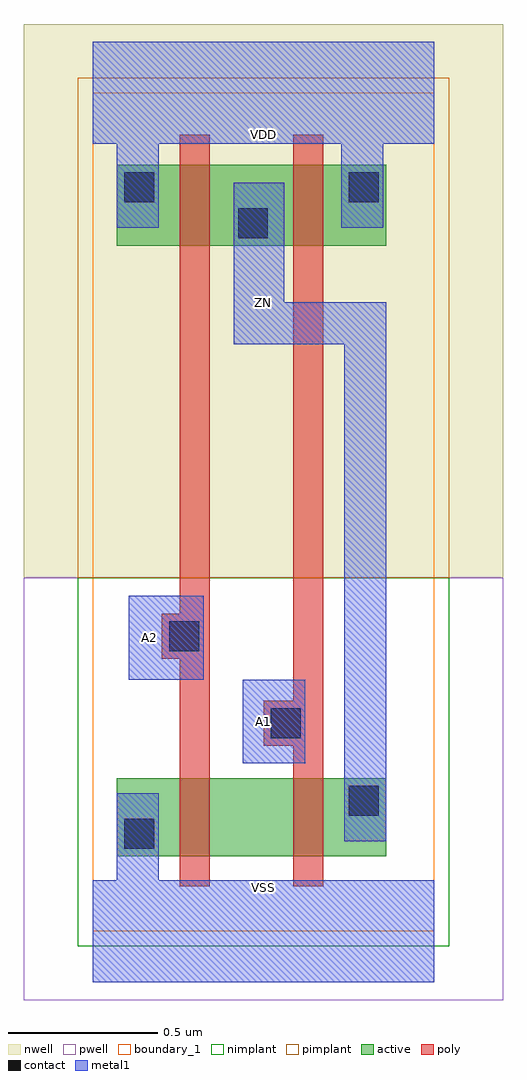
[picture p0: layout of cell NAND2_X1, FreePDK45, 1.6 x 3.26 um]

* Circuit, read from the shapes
.subckt NAND2_X1 A1 A2 VDD VSS ZN
M1 n1 A2 VSS VSUBS nfet w=0.26u l=0.1u
M2 ZN A1 n1 VSUBS nfet w=0.26u l=0.1u
M3 ZN A2 VDD n2 pfet w=0.27u l=0.1u
M4 VDD A1 ZN n2 pfet w=0.27u l=0.1u
.ends

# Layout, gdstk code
import gdstk
lib = gdstk.Library(unit=1e-6, precision=1e-09)
def R(c, l, rs):  # rectangles x0, y0, x1, y1
    for r in rs: c.add(gdstk.rectangle(r[:2], r[2:], *l))
def P(c, l, *ps):  # polygons
    for p in ps: c.add(gdstk.Polygon(p, *l))
active = (1, 0)
pwell = (2, 0)
nwell = (3, 0)
nimplant = (4, 0)
pimplant = (5, 0)
poly = (9, 0)
contact = (10, 0)
metal1 = (11, 0)
boundary_1 = (235, 1)

nand2_x1 = lib.new_cell('NAND2_X1')
R(nand2_x1, active, [(0.08,0.25,0.98,0.51), (0.08,2.29,0.98,2.56)])
R(nand2_x1, pwell, [(-0.23,-0.23,1.37,1.18)])
R(nand2_x1, nwell, [(-0.23,1.18,1.37,3.03)])
R(nand2_x1, nimplant, [(-0.05,-0.05,1.19,1.18)])
R(nand2_x1, pimplant, [(-0.05,1.18,1.19,2.85)])
P(nand2_x1, poly, [(0.57,0.62),(0.67,0.62),(0.67,0.15),(0.77,0.15),(0.77,2.66),(0.67,2.66),(0.67,0.77),(0.57,0.77)],
  [(0.23,0.91),(0.29,0.91),(0.29,0.15),(0.39,0.15),(0.39,2.66),(0.29,2.66),(0.29,1.06),(0.23,1.06)])
R(nand2_x1, contact, [(0.105,0.275,0.205,0.375), (0.855,0.385,0.955,0.485), (0.595,0.645,0.695,0.745), (0.255,0.935,0.355,1.035), (0.485,2.315,0.585,2.415), (0.105,2.435,0.205,2.535), (0.855,2.435,0.955,2.535)])
R(nand2_x1, metal1, [(0.5,0.56,0.71,0.84), (0.5,0.56,0.71,0.84), (0.12,0.84,0.37,1.12), (0.12,0.84,0.37,1.12)])
P(nand2_x1, metal1, [(0.47,1.96),(0.84,1.96),(0.84,0.3),(0.98,0.3),(0.98,2.1),(0.64,2.1),(0.64,2.5),(0.47,2.5)],
  [(0,-0.17),(1.14,-0.17),(1.14,0.17),(0.22,0.17),(0.22,0.46),(0.08,0.46),(0.08,0.17),(0,0.17)],
  [(0,2.63),(0.08,2.63),(0.08,2.35),(0.22,2.35),(0.22,2.63),(0.83,2.63),(0.83,2.35),(0.97,2.35),(0.97,2.63),(1.14,2.63),(1.14,2.97),(0,2.97)],
  [(0,2.63),(0.08,2.63),(0.08,2.35),(0.22,2.35),(0.22,2.63),(0.83,2.63),(0.83,2.35),(0.97,2.35),(0.97,2.63),(1.14,2.63),(1.14,2.97),(0,2.97)],
  [(0,-0.17),(1.14,-0.17),(1.14,0.17),(0.22,0.17),(0.22,0.46),(0.08,0.46),(0.08,0.17),(0,0.17)],
  [(0.47,1.96),(0.84,1.96),(0.84,0.3),(0.98,0.3),(0.98,2.1),(0.64,2.1),(0.64,2.5),(0.47,2.5)])
R(nand2_x1, boundary_1, [(0,0,1.14,2.8)])
nand2_x1.add(gdstk.Label('ZN', (0.57,2.1), layer=11, texttype=0))
nand2_x1.add(gdstk.Label('VSS', (0.57,0.145), layer=11, texttype=0))
nand2_x1.add(gdstk.Label('VDD', (0.57,2.66), layer=11, texttype=0))
nand2_x1.add(gdstk.Label('A2', (0.19,0.98), layer=11, texttype=0))
nand2_x1.add(gdstk.Label('A1', (0.57,0.7), layer=11, texttype=0))

lib.write_gds('NAND2_X1.gds')
